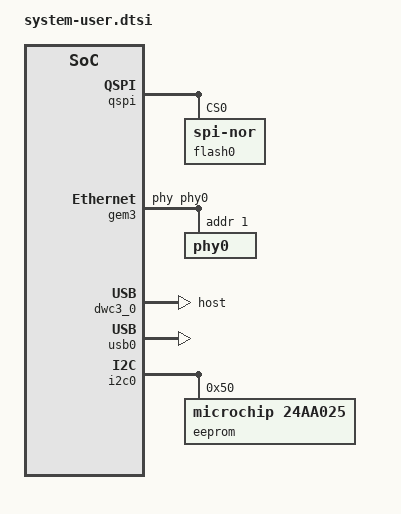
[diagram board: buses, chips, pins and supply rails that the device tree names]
/include/ "system-conf.dtsi"


/*------------------------- QSPI ------------------------- */
&qspi {
    #address-cells = <1>;
    #size-cells = <0>;
    status = "okay";
    flash0: flash@0 {
        //compatible = "flash name, "micron,m25p80";
        compatible = "jedec,spi-nor";
        reg = <0x0>;
        #address-cells = <1>;
        #size-cells = <1>;
    };
};


/*----------------------- SD1 sd2.0 -----------------------*/
&sdhci1 {
    disable-wp;
    no-1-8-v;
};


/*------------------------- ETH PHY -----------------------*/
&gem3 {
    phy-handle = <&phy0>;
    
    nvmem-cells = <&eth0_addr>;
    nvmem-cell-names = "mac-address";
    
    phy0: phy0@1 {
        device_type = "ethernet-phy";
        reg = <1>;
    };
};


/*----------------------- USB 2.0 only --------------------*/
&dwc3_0 {
    status = "okay";
    dr_mode = "host";
    maximum-speed = "high-speed";
    /delete-property/phy-names;
    /delete-property/phys;
    /delete-property/snps,usb3_lpm_capable;
    snps,dis_u2_susphy_quirk;
    snps,dis_u3_susphy_quirk;
};
    
&usb0 {
    status = "okay";
    /delete-property/ clocks;
    /delete-property/ clock-names;
    clocks = <0x3 0x20>;
    clock-names = "bus_clk";
};


/*---------------------------- I2C ------------------------*/
&i2c0 {
  eeprom: eeprom@50 {
     compatible = "microchip,24aa025", "atmel,24c02";
     reg = <0x50>;
     
     #address-cells = <1>;
     #size-cells = <1>;
     eth0_addr: eth-mac-addr@FA {
       reg = <0xFA 0x06>;
     };     
     
  };
};


